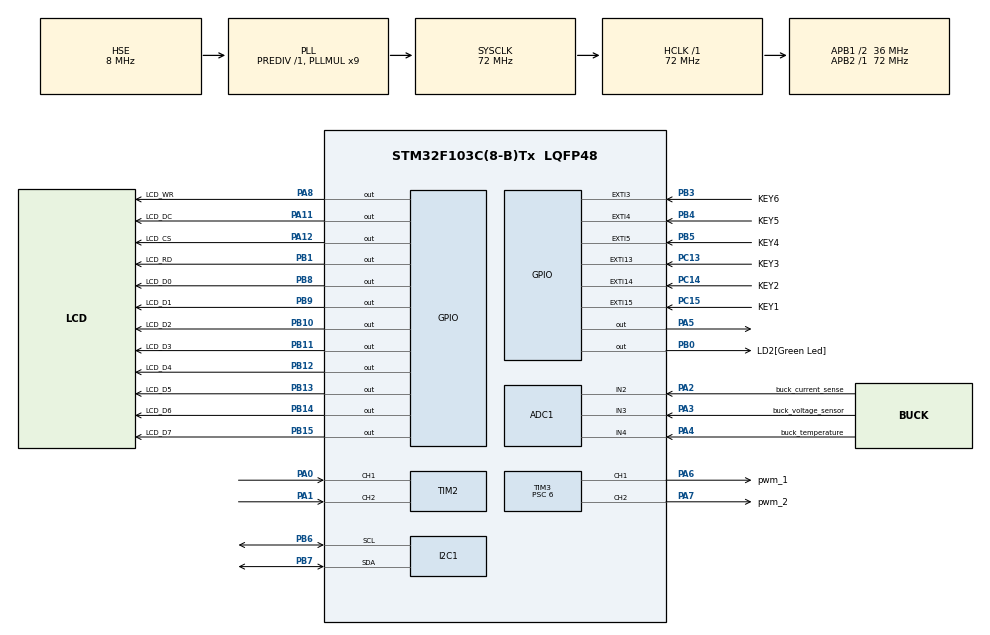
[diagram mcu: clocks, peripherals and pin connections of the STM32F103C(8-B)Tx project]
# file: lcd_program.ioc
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ADC1.Channel-0\#ChannelRegularConversion=ADC_CHANNEL_2
ADC1.Channel-1\#ChannelRegularConversion=ADC_CHANNEL_3
ADC1.Channel-2\#ChannelRegularConversion=ADC_CHANNEL_4
ADC1.ContinuousConvMode=ENABLE
ADC1.NbrOfConversion=3
ADC1.NbrOfConversionFlag=1
ADC1.Rank-0\#ChannelRegularConversion=1
ADC1.Rank-1\#ChannelRegularConversion=2
ADC1.Rank-2\#ChannelRegularConversion=3
ADC1.SamplingTime-0\#ChannelRegularConversion=ADC_SAMPLETIME_1CYCLE_5
ADC1.SamplingTime-1\#ChannelRegularConversion=ADC_SAMPLETIME_1CYCLE_5
ADC1.SamplingTime-2\#ChannelRegularConversion=ADC_SAMPLETIME_1CYCLE_5
ADC1.master=1
Mcu.Family=STM32F1
Mcu.Name=STM32F103C(8-B)Tx
Mcu.Package=LQFP48
NVIC.EXTI15_10_IRQn=true\:0\:0\:true\:false\:true\:true\:true\:true
NVIC.EXTI3_IRQn=true\:0\:0\:false\:false\:true\:true\:true\:true
NVIC.EXTI4_IRQn=true\:0\:0\:false\:false\:true\:true\:true\:true
NVIC.EXTI9_5_IRQn=true\:0\:0\:false\:false\:true\:true\:true\:true
NVIC.PriorityGroup=NVIC_PRIORITYGROUP_4
NVIC.TIM1_UP_IRQn=true\:0\:0\:false\:false\:true\:true\:true\:true
NVIC.TIM2_IRQn=true\:0\:0\:false\:false\:true\:true\:true\:true
NVIC.TIM3_IRQn=true\:0\:0\:false\:false\:true\:true\:true\:true
NVIC.TIM4_IRQn=true\:0\:0\:false\:false\:true\:true\:true\:true
PA0-WKUP.GPIO_PuPd=GPIO_PULLUP
PA0-WKUP.Signal=S_TIM2_CH1_ETR
PA1.GPIO_PuPd=GPIO_PULLUP
PA1.Signal=S_TIM2_CH2
PA11.GPIO_Label=LCD_DC
PA11.GPIO_Speed=GPIO_SPEED_FREQ_HIGH
PA11.Signal=GPIO_Output
PA12.GPIO_Label=LCD_CS
PA12.GPIO_Speed=GPIO_SPEED_FREQ_HIGH
PA12.Signal=GPIO_Output
PA2.GPIO_Label=buck_current_sense
PA2.Signal=ADCx_IN2
PA3.GPIO_Label=buck_voltage_sensor
PA3.Signal=ADCx_IN3
PA4.GPIO_Label=buck_temperature
PA4.Signal=ADCx_IN4
PA5.GPIO_ModeDefaultOutputPP=GPIO_MODE_OUTPUT_PP
PA5.GPIO_PuPd=GPIO_NOPULL
PA5.GPIO_Speed=GPIO_SPEED_FREQ_LOW
PA5.Signal=GPIO_Output
PA6.GPIO_Label=pwm_1
PA6.Signal=S_TIM3_CH1
PA7.GPIO_Label=pwm_2
PA7.Signal=S_TIM3_CH2
PA8.GPIO_Label=LCD_WR
PA8.GPIO_Speed=GPIO_SPEED_FREQ_HIGH
PA8.Signal=GPIO_Output
PB0.GPIO_Label=LD2[Green Led]
PB0.GPIO_Speed=GPIO_SPEED_FREQ_HIGH
PB0.Signal=GPIO_Output
PB1.GPIO_Label=LCD_RD
PB1.GPIO_Speed=GPIO_SPEED_FREQ_HIGH
PB1.Signal=GPIO_Output
PB10.GPIO_Label=LCD_D2
PB10.GPIO_Speed=GPIO_SPEED_FREQ_HIGH
PB10.Signal=GPIO_Output
PB11.GPIO_Label=LCD_D3
PB11.GPIO_Speed=GPIO_SPEED_FREQ_HIGH
PB11.Signal=GPIO_Output
PB12.GPIO_Label=LCD_D4
PB12.GPIO_Speed=GPIO_SPEED_FREQ_HIGH
PB12.Signal=GPIO_Output
PB13.GPIO_Label=LCD_D5
PB13.GPIO_Speed=GPIO_SPEED_FREQ_HIGH
PB13.Signal=GPIO_Output
PB14.GPIO_Label=LCD_D6
PB14.GPIO_Speed=GPIO_SPEED_FREQ_HIGH
PB14.Signal=GPIO_Output
PB15.GPIO_Label=LCD_D7
PB15.Signal=GPIO_Output
PB3.GPIO_Label=KEY6
PB3.GPIO_ModeDefaultEXTI=GPIO_MODE_IT_FALLING
PB3.GPIO_PuPd=GPIO_PULLUP
PB3.Signal=GPXTI3
PB4.GPIO_Label=KEY5
PB4.GPIO_ModeDefaultEXTI=GPIO_MODE_IT_FALLING
PB4.GPIO_PuPd=GPIO_PULLUP
PB4.Signal=GPXTI4
PB5.GPIO_Label=KEY4
PB5.GPIO_ModeDefaultEXTI=GPIO_MODE_IT_FALLING
PB5.GPIO_PuPd=GPIO_PULLUP
PB5.Signal=GPXTI5
PB6.Mode=I2C
PB6.Signal=I2C1_SCL
PB7.Mode=I2C
PB7.Signal=I2C1_SDA
PB8.GPIO_Label=LCD_D0
PB8.GPIO_Speed=GPIO_SPEED_FREQ_HIGH
PB8.Signal=GPIO_Output
PB9.GPIO_Label=LCD_D1
PB9.GPIO_Speed=GPIO_SPEED_FREQ_HIGH
PB9.Signal=GPIO_Output
PC13-TAMPER-RTC.GPIO_Label=KEY3
PC13-TAMPER-RTC.GPIO_ModeDefaultEXTI=GPIO_MODE_IT_FALLING
PC13-TAMPER-RTC.GPIO_PuPd=GPIO_PULLUP
PC13-TAMPER-RTC.Signal=GPXTI13
PC14-OSC32_IN.GPIO_Label=KEY2
PC14-OSC32_IN.GPIO_ModeDefaultEXTI=GPIO_MODE_IT_FALLING
PC14-OSC32_IN.GPIO_PuPd=GPIO_PULLUP
PC14-OSC32_IN.Signal=GPXTI14
PC15-OSC32_OUT.GPIO_Label=KEY1
PC15-OSC32_OUT.GPIO_ModeDefaultEXTI=GPIO_MODE_IT_FALLING
PC15-OSC32_OUT.GPIO_PuPd=GPIO_PULLUP
PC15-OSC32_OUT.Signal=GPXTI15
PD0-OSC_IN.Mode=HSE-External-Oscillator
PD0-OSC_IN.Signal=RCC_OSC_IN
PD1-OSC_OUT.Mode=HSE-External-Oscillator
PD1-OSC_OUT.Signal=RCC_OSC_OUT
ProjectManager.HeapSize=0x200
ProjectManager.StackSize=0x400
ProjectManager.TargetToolchain=STM32CubeIDE
RCC.ADCPresc=RCC_ADCPCLK2_DIV6
RCC.AHBFreq_Value=72000000
RCC.APB1CLKDivider=RCC_HCLK_DIV2
RCC.APB1Freq_Value=36000000
RCC.APB1TimFreq_Value=72000000
RCC.APB2Freq_Value=72000000
RCC.APB2TimFreq_Value=72000000
RCC.HCLKFreq_Value=72000000
RCC.PLLMUL=RCC_PLL_MUL9
RCC.PLLSourceVirtual=RCC_PLLSOURCE_HSE
RCC.SYSCLKFreq_VALUE=72000000
RCC.SYSCLKSource=RCC_SYSCLKSOURCE_PLLCLK
RCC.USBFreq_Value=72000000
SH.ADCx_IN2.0=ADC1_IN2,IN2
SH.ADCx_IN3.0=ADC1_IN3,IN3
SH.ADCx_IN4.0=ADC1_IN4,IN4
SH.S_TIM2_CH1_ETR.0=TIM2_CH1,Encoder_Interface
SH.S_TIM2_CH2.0=TIM2_CH2,Encoder_Interface
SH.S_TIM3_CH1.0=TIM3_CH1,PWM Generation1 CH1
SH.S_TIM3_CH2.0=TIM3_CH2,PWM Generation2 CH2
TIM1.Period=48000
TIM1.Prescaler=2
TIM2.AutoReloadPreload=TIM_AUTORELOAD_PRELOAD_ENABLE
TIM2.EncoderMode=TIM_ENCODERMODE_TI12
TIM2.IC1Filter=10
TIM2.IC2Filter=10
TIM3.Channel-PWM\ Generation1\ CH1=TIM_CHANNEL_1
TIM3.Channel-PWM\ Generation2\ CH2=TIM_CHANNEL_2
TIM3.Period=1000
TIM3.Prescaler=6
TIM4.AutoReloadPreload=TIM_AUTORELOAD_PRELOAD_ENABLE
TIM4.Period=1000
TIM4.Prescaler=7200
VP_SYS_VS_ND.Mode=No_Debug
VP_TIM1_VS_ClockSourceINT.Mode=Internal
VP_TIM4_VS_ClockSourceINT.Mode=Internal
board=custom

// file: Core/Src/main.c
/* USER CODE BEGIN Header */
/**
  ******************************************************************************
  * @file           : main.c
  * @brief          : Main program body
  ******************************************************************************
  * @attention
  *
  * Copyright (c) 2022 STMicroelectronics.
  * All rights reserved.
  *
  * This software is licensed under terms that can be found in the LICENSE file
  * in the root directory of this software component.
  * If no LICENSE file comes with this software, it is provided AS-IS.
  *
  ******************************************************************************
  */
/* USER CODE END Header */
#include "main.h"

/* USER CODE BEGIN Includes */
#include "lcd_progm.h"
#include "ugui.h"
#include "ugui_ST7789.h"
#include "SW3516.h"
#include "stdbool.h"
#include "lcd_callback.h"
#include "stdio.h"
#include "real_time_flow.h"
#include "pid_with_adc_read.h"
#include "Encoder.h"
#include "KEYS.h"
#include "eeprom_chip.h"
/* USER CODE END Includes */

ADC_HandleTypeDef hadc1;

I2C_HandleTypeDef hi2c1;

//TIM_HandleTypeDef htim1;

TIM_HandleTypeDef htim2;
//TIM_HandleTypeDef htim4;

/* USER CODE BEGIN PV */
uint8_t page_counter = 1;

/* USER CODE END PV */

void SystemClock_Config(void);
static void MX_GPIO_Init(void);
static void MX_I2C1_Init(void);
static void MX_TIM1_Init(void);
static void MX_TIM3_Init(void);
static void MX_ADC1_Init(void);
static void MX_TIM2_Init(void);
static void MX_TIM4_Init(void);

/* USER CODE BEGIN 0 */
//uint8_t page_counter = 0;
//uint8_t state = 1;
//uint8_t page_load = 1;

bool read_sw3516_flag;
/* USER CODE END 0 */

int main(void)
{

  /* MCU Configuration--------------------------------------------------------*/

  /* Reset of all peripherals, Initializes the Flash interface and the Systick. */
  HAL_Init();

  /* Configure the system clock */
  SystemClock_Config();

  /* Initialize all configured peripherals */
  MX_GPIO_Init();
  MX_I2C1_Init();
  MX_TIM1_Init();
  MX_TIM3_Init();
  MX_ADC1_Init();
  MX_TIM2_Init();
  MX_TIM4_Init();
  /* USER CODE BEGIN 2 */

//pid_intialize();
  SW3516_init();

  sw3516_read();
  first_time_eeprom_initialize();

  Display_Init();
  begin();

  menu_initialization();

 //Page_logo();
// Page_0();
//Page_1();
//Page_2();
//Page_3();
//Page_4();

 HAL_TIM_Base_Start_IT(&htim2);
  HAL_TIM_Base_Start_IT(&htim1);

 // HAL_TIM_Base_Start_IT(&htim2);
HAL_TIM_Encoder_Start(&htim2, TIM_CHANNEL_ALL);

// code
start_external_interupt_button();

  /* USER CODE END 2 */

  /* Infinite loop */
  while (1)
  {

    /* USER CODE BEGIN 3 */

//	  if(read_sw3516_flag){
//
//		  sw3516_previous= sw3516_current;
//		  sw3516_read();
//
//		  usb_charging_page_msg();
//		  read_sw3516_flag=0;
//	  }
//	  Encoder_Ticks();

//	  if(read_sw3516_flag){

	  	program_flow();
		event_base_prog_flow();
//		if(HAL_I2C_IsDeviceReady(&hi2c1, SW3516_address, 1, 100)!=0){
//
//			 MX_I2C1_Init();
//		}
    //
//	  Page_logo();
//

//	  HAL_Delay(1000);
//
//	  Page_1();
//	  HAL_Delay(1000);
//
//	  Page_2();
//	  if(page_counter == 0 && page_load == 1){
//
////		  HAL_GPIO_WritePin(GPIOA, GPIO_PIN_5,1);
//		  UG_WindowHide(&window_graph);
//		  UG_Update();
//		  UG_WindowShow(&window_page_1);
//		  	 	   UG_Update();
//		  	 	page_load = 0;
//
//	  }
//	  else if(page_counter == 1 && page_load == 1){
////		  HAL_GPIO_WritePin(GPIOA, GPIO_PIN_5,0);
//
//		  UG_WindowHide(&window_page_1);
//		  UG_Update();
//		     UG_WindowShow(&window_graph);
//		 	   UG_Update();
//
//		 	  page_load = 0;
//	  }

//	Page_1();
//
//	Page_2();
//
//	Page_logo();

//	  convert_ADC(&current.currentA, &current.currentC, &current.voltagein, &current.voltageout, &current.temperature);

  }
  /* USER CODE END 3 */
}

void SystemClock_Config(void)
{
  RCC_OscInitTypeDef RCC_OscInitStruct = {0};
  RCC_ClkInitTypeDef RCC_ClkInitStruct = {0};
  RCC_PeriphCLKInitTypeDef PeriphClkInit = {0};

  /** Initializes the RCC Oscillators according to the specified parameters
  * in the RCC_OscInitTypeDef structure.
  */
  RCC_OscInitStruct.OscillatorType = RCC_OSCILLATORTYPE_HSE;
  RCC_OscInitStruct.HSEState = RCC_HSE_ON;
  RCC_OscInitStruct.HSEPredivValue = RCC_HSE_PREDIV_DIV1;
  RCC_OscInitStruct.HSIState = RCC_HSI_ON;
  RCC_OscInitStruct.PLL.PLLState = RCC_PLL_ON;
  RCC_OscInitStruct.PLL.PLLSource = RCC_PLLSOURCE_HSE;
  RCC_OscInitStruct.PLL.PLLMUL = RCC_PLL_MUL9;
  if (HAL_RCC_OscConfig(&RCC_OscInitStruct) != HAL_OK)
  {
    Error_Handler();
  }

  /** Initializes the CPU, AHB and APB buses clocks
  */
  RCC_ClkInitStruct.ClockType = RCC_CLOCKTYPE_HCLK|RCC_CLOCKTYPE_SYSCLK
                              |RCC_CLOCKTYPE_PCLK1|RCC_CLOCKTYPE_PCLK2;
  RCC_ClkInitStruct.SYSCLKSource = RCC_SYSCLKSOURCE_PLLCLK;
  RCC_ClkInitStruct.AHBCLKDivider = RCC_SYSCLK_DIV1;
  RCC_ClkInitStruct.APB1CLKDivider = RCC_HCLK_DIV2;
  RCC_ClkInitStruct.APB2CLKDivider = RCC_HCLK_DIV1;

  if (HAL_RCC_ClockConfig(&RCC_ClkInitStruct, FLASH_LATENCY_2) != HAL_OK)
  {
    Error_Handler();
  }
  PeriphClkInit.PeriphClockSelection = RCC_PERIPHCLK_ADC;
  PeriphClkInit.AdcClockSelection = RCC_ADCPCLK2_DIV6;
  if (HAL_RCCEx_PeriphCLKConfig(&PeriphClkInit) != HAL_OK)
  {
    Error_Handler();
  }
}

static void MX_ADC1_Init(void)
{

  ADC_ChannelConfTypeDef sConfig = {0};

  /** Common config
  */
  hadc1.Instance = ADC1;
  hadc1.Init.ScanConvMode = ADC_SCAN_ENABLE;
  hadc1.Init.ContinuousConvMode = ENABLE;
  hadc1.Init.DiscontinuousConvMode = DISABLE;
  hadc1.Init.ExternalTrigConv = ADC_SOFTWARE_START;
  hadc1.Init.DataAlign = ADC_DATAALIGN_RIGHT;
  hadc1.Init.NbrOfConversion = 1;
  if (HAL_ADC_Init(&hadc1) != HAL_OK)
  {
    Error_Handler();
  }

//  /** Configure Regular Channel
//  */
//  sConfig.Channel = ADC_CHANNEL_2;
//  sConfig.Rank = ADC_REGULAR_RANK_1;
//  sConfig.SamplingTime = ADC_SAMPLETIME_1CYCLE_5;
//  if (HAL_ADC_ConfigChannel(&hadc1, &sConfig) != HAL_OK)
//  {
//    Error_Handler();
//  }
//
//  /** Configure Regular Channel
//  */
//  sConfig.Channel = ADC_CHANNEL_3;
//  sConfig.Rank = ADC_REGULAR_RANK_2;
//  if (HAL_ADC_ConfigChannel(&hadc1, &sConfig) != HAL_OK)
//  {
//    Error_Handler();
//  }
//
//  /** Configure Regular Channel
//  */
//  sConfig.Channel = ADC_CHANNEL_4;
//  sConfig.Rank = ADC_REGULAR_RANK_3;
//  if (HAL_ADC_ConfigChannel(&hadc1, &sConfig) != HAL_OK)
//  {
//    Error_Handler();
//  }

}

static void MX_I2C1_Init(void)
{

  hi2c1.Instance = I2C1;
  hi2c1.Init.ClockSpeed = 100000;
  hi2c1.Init.DutyCycle = I2C_DUTYCYCLE_2;
  hi2c1.Init.OwnAddress1 = 0;
  hi2c1.Init.AddressingMode = I2C_ADDRESSINGMODE_7BIT;
  hi2c1.Init.DualAddressMode = I2C_DUALADDRESS_DISABLE;
  hi2c1.Init.OwnAddress2 = 0;
  hi2c1.Init.GeneralCallMode = I2C_GENERALCALL_DISABLE;
  hi2c1.Init.NoStretchMode = I2C_NOSTRETCH_DISABLE;
  if (HAL_I2C_Init(&hi2c1) != HAL_OK)
  {
    Error_Handler();
  }

}

static void MX_TIM1_Init(void)
{

  TIM_ClockConfigTypeDef sClockSourceConfig = {0};
  TIM_MasterConfigTypeDef sMasterConfig = {0};

  htim1.Instance = TIM1;
  htim1.Init.Prescaler = 2;
  htim1.Init.CounterMode = TIM_COUNTERMODE_UP;
  htim1.Init.Period = 48000;
  htim1.Init.ClockDivision = TIM_CLOCKDIVISION_DIV1;
  htim1.Init.RepetitionCounter = 0;
  htim1.Init.AutoReloadPreload = TIM_AUTORELOAD_PRELOAD_DISABLE;
  if (HAL_TIM_Base_Init(&htim1) != HAL_OK)
  {
    Error_Handler();
  }
  sClockSourceConfig.ClockSource = TIM_CLOCKSOURCE_INTERNAL;
  if (HAL_TIM_ConfigClockSource(&htim1, &sClockSourceConfig) != HAL_OK)
  {
    Error_Handler();
  }
  sMasterConfig.MasterOutputTrigger = TIM_TRGO_RESET;
  sMasterConfig.MasterSlaveMode = TIM_MASTERSLAVEMODE_DISABLE;
  if (HAL_TIMEx_MasterConfigSynchronization(&htim1, &sMasterConfig) != HAL_OK)
  {
    Error_Handler();
  }

}

static void MX_TIM2_Init(void)
{

  TIM_Encoder_InitTypeDef sConfig = {0};
  TIM_MasterConfigTypeDef sMasterConfig = {0};

  htim2.Instance = TIM2;
  htim2.Init.Prescaler = 0;
  htim2.Init.CounterMode = TIM_COUNTERMODE_UP;
  htim2.Init.Period = 65535;
  htim2.Init.ClockDivision = TIM_CLOCKDIVISION_DIV1;
  htim2.Init.AutoReloadPreload = TIM_AUTORELOAD_PRELOAD_ENABLE;
  sConfig.EncoderMode = TIM_ENCODERMODE_TI12;
  sConfig.IC1Polarity = TIM_ICPOLARITY_RISING;
  sConfig.IC1Selection = TIM_ICSELECTION_DIRECTTI;
  sConfig.IC1Prescaler = TIM_ICPSC_DIV1;
  sConfig.IC1Filter = 10;
  sConfig.IC2Polarity = TIM_ICPOLARITY_RISING;
  sConfig.IC2Selection = TIM_ICSELECTION_DIRECTTI;
  sConfig.IC2Prescaler = TIM_ICPSC_DIV1;
  sConfig.IC2Filter = 10;
  if (HAL_TIM_Encoder_Init(&htim2, &sConfig) != HAL_OK)
  {
    Error_Handler();
  }
  sMasterConfig.MasterOutputTrigger = TIM_TRGO_RESET;
  sMasterConfig.MasterSlaveMode = TIM_MASTERSLAVEMODE_DISABLE;
  if (HAL_TIMEx_MasterConfigSynchronization(&htim2, &sMasterConfig) != HAL_OK)
  {
    Error_Handler();
  }

}

static void MX_TIM3_Init(void)
{

  TIM_MasterConfigTypeDef sMasterConfig = {0};
  TIM_OC_InitTypeDef sConfigOC = {0};

  htim3.Instance = TIM3;
  htim3.Init.Prescaler = 6;
  htim3.Init.CounterMode = TIM_COUNTERMODE_UP;
  htim3.Init.Period = 1000;
  htim3.Init.ClockDivision = TIM_CLOCKDIVISION_DIV1;
  htim3.Init.AutoReloadPreload = TIM_AUTORELOAD_PRELOAD_DISABLE;
  if (HAL_TIM_PWM_Init(&htim3) != HAL_OK)
  {
    Error_Handler();
  }
  sMasterConfig.MasterOutputTrigger = TIM_TRGO_RESET;
  sMasterConfig.MasterSlaveMode = TIM_MASTERSLAVEMODE_DISABLE;
  if (HAL_TIMEx_MasterConfigSynchronization(&htim3, &sMasterConfig) != HAL_OK)
  {
    Error_Handler();
  }
  sConfigOC.OCMode = TIM_OCMODE_PWM1;
  sConfigOC.Pulse = 0;
  sConfigOC.OCPolarity = TIM_OCPOLARITY_HIGH;
  sConfigOC.OCFastMode = TIM_OCFAST_DISABLE;
  if (HAL_TIM_PWM_ConfigChannel(&htim3, &sConfigOC, TIM_CHANNEL_1) != HAL_OK)
  {
    Error_Handler();
  }
  if (HAL_TIM_PWM_ConfigChannel(&htim3, &sConfigOC, TIM_CHANNEL_2) != HAL_OK)
  {
    Error_Handler();
  }
  HAL_TIM_MspPostInit(&htim3);

}

static void MX_TIM4_Init(void)
{

  TIM_ClockConfigTypeDef sClockSourceConfig = {0};
  TIM_MasterConfigTypeDef sMasterConfig = {0};

  htim4.Instance = TIM4;
  htim4.Init.Prescaler = 7200;
  htim4.Init.CounterMode = TIM_COUNTERMODE_UP;
  htim4.Init.Period = 1000;
  htim4.Init.ClockDivision = TIM_CLOCKDIVISION_DIV1;
  htim4.Init.AutoReloadPreload = TIM_AUTORELOAD_PRELOAD_ENABLE;
  if (HAL_TIM_Base_Init(&htim4) != HAL_OK)
  {
    Error_Handler();
  }
  sClockSourceConfig.ClockSource = TIM_CLOCKSOURCE_INTERNAL;
  if (HAL_TIM_ConfigClockSource(&htim4, &sClockSourceConfig) != HAL_OK)
  {
    Error_Handler();
  }
  sMasterConfig.MasterOutputTrigger = TIM_TRGO_RESET;
  sMasterConfig.MasterSlaveMode = TIM_MASTERSLAVEMODE_DISABLE;
  if (HAL_TIMEx_MasterConfigSynchronization(&htim4, &sMasterConfig) != HAL_OK)
  {
    Error_Handler();
  }

}

static void MX_GPIO_Init(void)
{
  GPIO_InitTypeDef GPIO_InitStruct = {0};

  /* GPIO Ports Clock Enable */
  __HAL_RCC_GPIOC_CLK_ENABLE();
  __HAL_RCC_GPIOD_CLK_ENABLE();
  __HAL_RCC_GPIOA_CLK_ENABLE();
  __HAL_RCC_GPIOB_CLK_ENABLE();

  /*Configure GPIO pin Output Level */
  HAL_GPIO_WritePin(GPIOA, GPIO_PIN_5|LCD_WR_Pin|LCD_DC_Pin|LCD_CS_Pin, GPIO_PIN_RESET);

  /*Configure GPIO pin Output Level */
  HAL_GPIO_WritePin(GPIOB, LD2_Pin|LCD_RD_Pin|LCD_D2_Pin|LCD_D3_Pin
                          |LCD_D4_Pin|LCD_D5_Pin|LCD_D6_Pin|LCD_D7_Pin
                          |LCD_D0_Pin|LCD_D1_Pin, GPIO_PIN_RESET);

  /*Configure GPIO pins : KEY3_Pin KEY2_Pin KEY1_Pin */
  GPIO_InitStruct.Pin = KEY3_Pin|KEY2_Pin|KEY1_Pin;
  GPIO_InitStruct.Mode = GPIO_MODE_IT_FALLING;
  GPIO_InitStruct.Pull = GPIO_PULLUP;
  HAL_GPIO_Init(GPIOC, &GPIO_InitStruct);

  /*Configure GPIO pin : PA5 */
  GPIO_InitStruct.Pin = GPIO_PIN_5;
  GPIO_InitStruct.Mode = GPIO_MODE_OUTPUT_PP;
  GPIO_InitStruct.Pull = GPIO_NOPULL;
  GPIO_InitStruct.Speed = GPIO_SPEED_FREQ_LOW;
  HAL_GPIO_Init(GPIOA, &GPIO_InitStruct);

  /*Configure GPIO pins : LD2_Pin LCD_RD_Pin LCD_D2_Pin LCD_D3_Pin
                           LCD_D4_Pin LCD_D5_Pin LCD_D6_Pin LCD_D0_Pin
                           LCD_D1_Pin */
  GPIO_InitStruct.Pin = LD2_Pin|LCD_RD_Pin|LCD_D2_Pin|LCD_D3_Pin
                          |LCD_D4_Pin|LCD_D5_Pin|LCD_D6_Pin|LCD_D0_Pin
                          |LCD_D1_Pin;
  GPIO_InitStruct.Mode = GPIO_MODE_OUTPUT_PP;
  GPIO_InitStruct.Pull = GPIO_NOPULL;
  GPIO_InitStruct.Speed = GPIO_SPEED_FREQ_HIGH;
  HAL_GPIO_Init(GPIOB, &GPIO_InitStruct);

  /*Configure GPIO pin : LCD_D7_Pin */
  GPIO_InitStruct.Pin = LCD_D7_Pin;
  GPIO_InitStruct.Mode = GPIO_MODE_OUTPUT_PP;
  GPIO_InitStruct.Pull = GPIO_NOPULL;
  GPIO_InitStruct.Speed = GPIO_SPEED_FREQ_LOW;
  HAL_GPIO_Init(LCD_D7_GPIO_Port, &GPIO_InitStruct);

  /*Configure GPIO pins : LCD_WR_Pin LCD_DC_Pin LCD_CS_Pin */
  GPIO_InitStruct.Pin = LCD_WR_Pin|LCD_DC_Pin|LCD_CS_Pin;
  GPIO_InitStruct.Mode = GPIO_MODE_OUTPUT_PP;
  GPIO_InitStruct.Pull = GPIO_NOPULL;
  GPIO_InitStruct.Speed = GPIO_SPEED_FREQ_HIGH;
  HAL_GPIO_Init(GPIOA, &GPIO_InitStruct);

  /*Configure GPIO pins : KEY6_Pin KEY5_Pin KEY4_Pin */
  GPIO_InitStruct.Pin = KEY6_Pin|KEY5_Pin|KEY4_Pin;
  GPIO_InitStruct.Mode = GPIO_MODE_IT_FALLING;
  GPIO_InitStruct.Pull = GPIO_PULLUP;
  HAL_GPIO_Init(GPIOB, &GPIO_InitStruct);

  /* EXTI interrupt init*/
  HAL_NVIC_SetPriority(EXTI3_IRQn, 0, 0);
 // HAL_NVIC_EnableIRQ(EXTI3_IRQn);

  HAL_NVIC_SetPriority(EXTI4_IRQn, 0, 0);
 // HAL_NVIC_EnableIRQ(EXTI4_IRQn);

  HAL_NVIC_SetPriority(EXTI9_5_IRQn, 0, 0);
 // HAL_NVIC_EnableIRQ(EXTI9_5_IRQn);

  HAL_NVIC_SetPriority(EXTI15_10_IRQn, 0, 0);
 // HAL_NVIC_EnableIRQ(EXTI15_10_IRQn);

}

void Error_Handler(void)
{
  __disable_irq();
  while (1)
  {
  }
}
